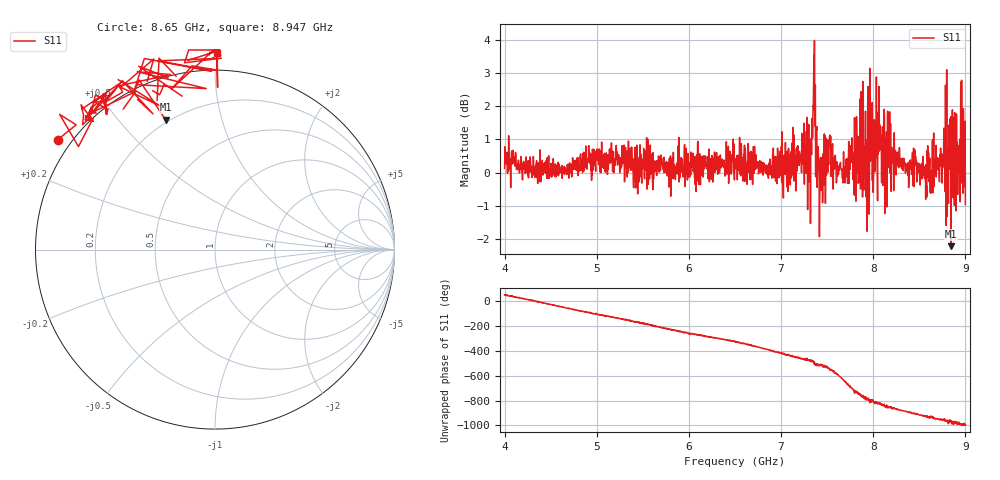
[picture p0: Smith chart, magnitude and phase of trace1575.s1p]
! Created with skrf 1.8.0 (http://scikit-rf.org).
# Hz S RI R 50.0
!freq ReS11 ImS11
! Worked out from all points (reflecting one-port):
!   1601 points, 4 GHz to 9 GHz, reference 50 ohm
!   lowest |S11| = -2.2 dB at 8.844 GHz (marker M1), VSWR 7.84, Z = 9.33 + j33.6 ohm
!   phase of S11 starts at 52 deg and turns -1048 deg over the sweep
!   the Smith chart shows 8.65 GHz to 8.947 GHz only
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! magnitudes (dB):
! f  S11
! 4 GHz  0.1
! 4.625 GHz  -0.2
! 5.25 GHz  0.0
! 5.875 GHz  0.1
! 6.5 GHz  0.3
! 7.038 GHz  0.0
! 7.125 GHz  0.4
! 7.297 GHz  0.7
! 7.359 GHz  1.9
! 7.378 GHz  1.1
! 7.4 GHz  0.2
! 7.431 GHz  -0.5
! 7.512 GHz  0.9
! 7.678 GHz  0.6
! 7.75 GHz  0.1
! 7.831 GHz  0.6
! 7.891 GHz  0.8
! 7.909 GHz  0.8
! 7.962 GHz  3.2
! 8.022 GHz  0.4
! 8.053 GHz  0.6
! 8.375 GHz  0.1
! 8.444 GHz  0.2
! 8.556 GHz  -0.2
! 8.844 GHz  -2.2
! 8.919 GHz  0.3
! 8.972 GHz  0.8
! 9 GHz  -1.0
